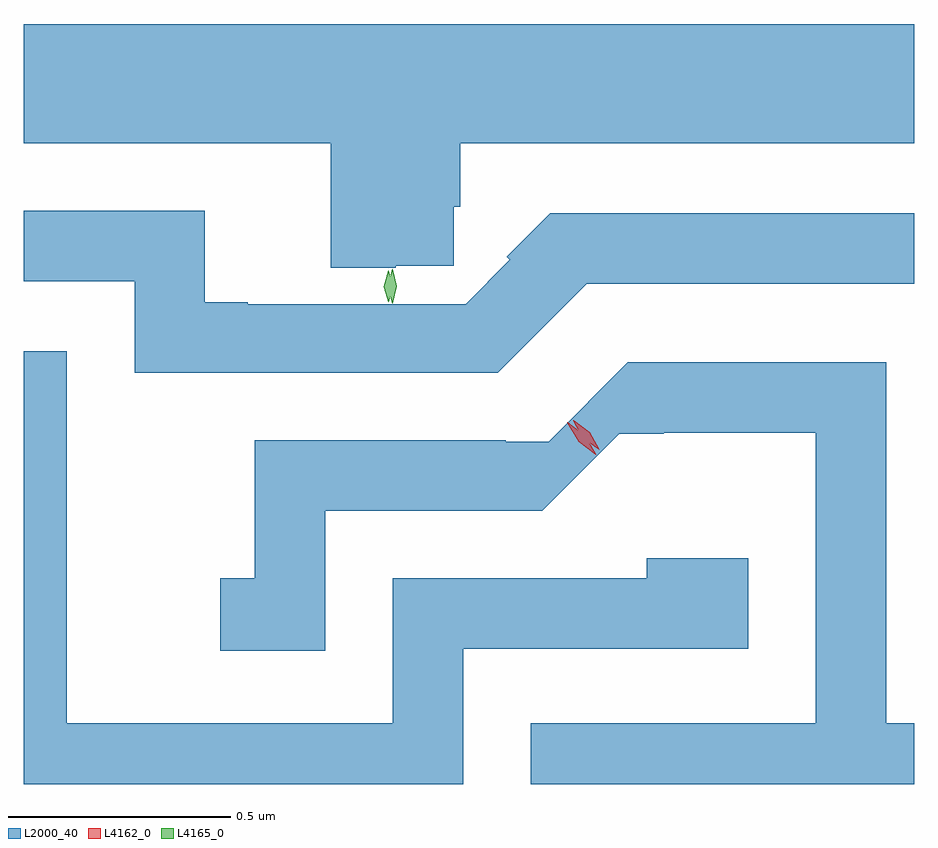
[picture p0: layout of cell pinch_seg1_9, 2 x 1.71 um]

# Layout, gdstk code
import gdstk
lib = gdstk.Library(unit=1e-6, precision=1e-09)
def P(c, l, *ps):  # polygons
    for p in ps: c.add(gdstk.Polygon(p, *l))
L2000_40 = (2000, 40)
L4162_0 = (4162, 0)
L4165_0 = (4165, 0)

pinch_seg1_9 = lib.new_cell('pinch_seg1_9')
P(pinch_seg1_9, L2000_40, [(1536.807,877.101),(1536.938,877.101),(1536.938,877.234),(1536.952,877.234),(1536.952,877.376),(1537.972,877.376),(1537.972,877.644),(1535.972,877.644),(1535.972,877.376),(1536.661,877.376),(1536.661,877.096),(1536.807,877.096)],
  [(1537.237,877.061),(1537.972,877.061),(1537.972,877.219),(1537.155,877.219),(1537.057,877.121),(1537.064,877.114),(1536.965,877.014),(1536.475,877.014),(1536.475,877.019),(1536.379,877.019),(1536.379,877.224),(1535.972,877.224),(1535.972,877.066),(1536.221,877.066),(1536.221,876.861),(1537.037,876.861)],
  [(1536.959,876.241),(1537.599,876.241),(1537.599,876.444),(1537.371,876.444),(1537.371,876.399),(1536.801,876.399),(1536.801,876.074),(1536.069,876.074),(1536.069,876.909),(1535.972,876.909),(1535.972,875.937),(1536.959,875.937)],
  [(1537.972,876.074),(1537.909,876.074),(1537.909,876.884),(1537.329,876.884),(1537.151,876.706),(1537.055,876.706),(1537.055,876.709),(1536.491,876.709),(1536.491,876.399),(1536.413,876.399),(1536.413,876.236),(1536.649,876.236),(1536.649,876.551),(1537.136,876.551),(1537.309,876.724),(1537.409,876.724),(1537.409,876.726),(1537.751,876.726),(1537.751,876.074),(1537.111,876.074),(1537.111,875.937),(1537.972,875.937)])
P(pinch_seg1_9, L4162_0, [(1537.264,876.688),(1537.228,876.714),(1537.206,876.753),(1537.206,876.754),(1537.207,876.754),(1537.243,876.727),(1537.264,876.689),(1537.264,876.688)],
  [(1537.257,876.676),(1537.218,876.706),(1537.193,876.748),(1537.193,876.749),(1537.194,876.749),(1537.233,876.719),(1537.258,876.676),(1537.258,876.676)])
P(pinch_seg1_9, L4165_0, [(1536.791,877.019),(1536.791,877.02),(1536.781,877.054),(1536.791,877.09),(1536.791,877.09),(1536.792,877.09),(1536.801,877.054),(1536.792,877.02)],
  [(1536.8,877.017),(1536.8,877.017),(1536.79,877.055),(1536.8,877.093),(1536.8,877.093),(1536.801,877.093),(1536.81,877.055),(1536.801,877.017)])

lib.write_gds('pinch_seg1_9.gds')
